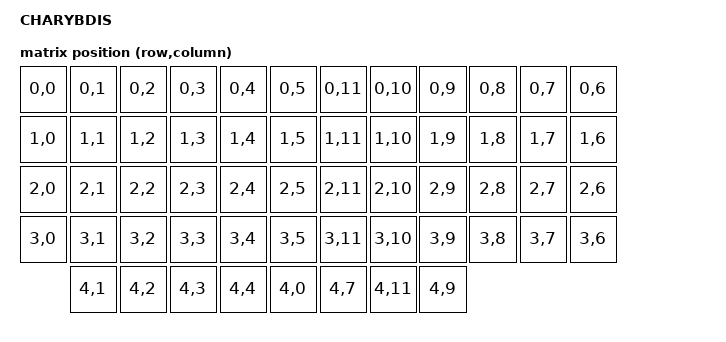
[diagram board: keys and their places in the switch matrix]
#include <nordic/nrf52840_qiaa.dtsi>
#include <dt-bindings/zmk/matrix_transform.h>
#include <physical_layouts.dtsi>

/ {
    model = "CHARYBDIS";
    compatible = "charybdis";

    chosen {
        zephyr,code-partition = &code_partition;
        zephyr,sram = &sram0;
        zephyr,flash = &flash0;
        zmk,kscan = &kscan0;
        zmk,battery = &vbatt;
        zmk,matrix_transform = &default_transform;
        zmk,physical-layout = &charybdis_6col_layout;
        

    };

    vbatt: vbatt {
        compatible = "zmk,battery-voltage-divider";
        label = "BATTERY";
        io-channels = <&adc 2>;
        output-ohms = <2000000>;
        full-ohms = <(2000000 + 806000)>;
    };
        default_transform: keymap_transform_0 {
        compatible = "zmk,matrix-transform";
        columns = <12>;
        rows = <5>;

    map = <
        RC(0,0) RC(0,1) RC(0,2) RC(0,3) RC(0,4) RC(0,5)  RC(0,11) RC(0,10) RC(0,9)  RC(0,8) RC(0,7) RC(0,6)
        RC(1,0) RC(1,1) RC(1,2) RC(1,3) RC(1,4) RC(1,5)  RC(1,11) RC(1,10) RC(1,9)  RC(1,8) RC(1,7) RC(1,6)
        RC(2,0) RC(2,1) RC(2,2) RC(2,3) RC(2,4) RC(2,5)  RC(2,11) RC(2,10) RC(2,9)  RC(2,8) RC(2,7) RC(2,6)
        RC(3,0) RC(3,1) RC(3,2) RC(3,3) RC(3,4) RC(3,5)  RC(3,11) RC(3,10) RC(3,9)  RC(3,8) RC(3,7) RC(3,6)
                RC(4,1) RC(4,2) RC(4,3) RC(4,4) RC(4,0)  RC(4,7)  RC(4,11) RC(4,9)
        >;
    };

    kscan0: kscan {
        diode-direction = "row2col";
    };

    charybdis_6col_layout: charybdis_6col_layout {
        compatible = "zmk,physical-layout";
        display-name = "6-column";

        transform = <&default_transform>;

        keys  //                     w   h    x    y     rot    rx    ry
            = <&key_physical_attrs 100 100    0   57       0     0     0>
            , <&key_physical_attrs 100 100  100   57       0     0     0>
            , <&key_physical_attrs 100 100  200   12       0     0     0>
            , <&key_physical_attrs 100 100  300    0       0     0     0>
            , <&key_physical_attrs 100 100  400   12       0     0     0>
            , <&key_physical_attrs 100 100  500   12       0     0     0>
            , <&key_physical_attrs 100 100  900   12       0     0     0>
            , <&key_physical_attrs 100 100 1000   12       0     0     0>
            , <&key_physical_attrs 100 100 1100    0       0     0     0>
            , <&key_physical_attrs 100 100 1200   12       0     0     0>
            , <&key_physical_attrs 100 100 1300   57       0     0     0>
            , <&key_physical_attrs 100 100 1400   57       0     0     0>
            , <&key_physical_attrs 100 100    0  157       0     0     0>
            , <&key_physical_attrs 100 100  100  157       0     0     0>
            , <&key_physical_attrs 100 100  200  112       0     0     0>
            , <&key_physical_attrs 100 100  300  100       0     0     0>
            , <&key_physical_attrs 100 100  400  112       0     0     0>
            , <&key_physical_attrs 100 100  500  112       0     0     0>
            , <&key_physical_attrs 100 100  900  112       0     0     0>
            , <&key_physical_attrs 100 100 1000  112       0     0     0>
            , <&key_physical_attrs 100 100 1100  100       0     0     0>
            , <&key_physical_attrs 100 100 1200  112       0     0     0>
            , <&key_physical_attrs 100 100 1300  157       0     0     0>
            , <&key_physical_attrs 100 100 1400  157       0     0     0>
            , <&key_physical_attrs 100 100    0  257       0     0     0>
            , <&key_physical_attrs 100 100  100  257       0     0     0>
            , <&key_physical_attrs 100 100  200  212       0     0     0>
            , <&key_physical_attrs 100 100  300  200       0     0     0>
            , <&key_physical_attrs 100 100  400  212       0     0     0>
            , <&key_physical_attrs 100 100  500  212       0     0     0>
            , <&key_physical_attrs 100 100  900  212       0     0     0>
            , <&key_physical_attrs 100 100 1000  212       0     0     0>
            , <&key_physical_attrs 100 100 1100  200       0     0     0>
            , <&key_physical_attrs 100 100 1200  212       0     0     0>
            , <&key_physical_attrs 100 100 1300  257       0     0     0>
            , <&key_physical_attrs 100 100 1400  257       0     0     0>
            , <&key_physical_attrs 100 100  348  312       0     0     0>
            , <&key_physical_attrs 100 100  348  312    1500   398   789>
            , <&key_physical_attrs 100 100  348  312    3000   398   789>
            , <&key_physical_attrs 100 100 1052  312 (-3000)  1102   789>
            , <&key_physical_attrs 100 100 1052  312 (-1500)  1102   789>
            ;
    };

    charybdis_position_map {
        compatible = "zmk,physical-layout-position-map";

        complete;

        twelve {
            physical-layout = <&charybdis_6col_layout>;
            positions
                = < 0  1  2  3  4  5  6  7  8  9 10 11 >
                , <12 13 14 15 16 17 18 19 20 21 22 23 >
                , <24 25 26 27 28 29 30 31 32 33 34 35 >
                , <36 37 38 39 40 41 42 43 44 45 46 47 >
                , <         37 38 39 40 41             >
                ;
        };
    };
};

&adc {
    status = "okay";
};

&gpiote {
  status = "okay";
};

&gpio0 {
    status = "okay";
};

&gpio1 {
    status = "okay";
};
 
zephyr_udc0: &usbd {
    status = "okay";
};

&flash0 {
  partitions {
    compatible = "fixed-partitions";
    #address-cells = <1>;
    #size-cells = <1>;

    sd_partition: partition@0 {
      label = "mbr";
      reg = <0x00000000 0x00001000>;
    };
    code_partition: partition@1000 {
      label = "code_partition";
      reg = <0x00001000 0x000d3000>;
    };
    storage_partition: partition@ec000 {
      label = "storage";
      reg = <0x000ec000 0x00008000>;
    };
    boot_partition: partition@f4000 {
      label = "adafruit_boot";
      reg = <0x000f4000 0x0000c000>;
    };
  };
};
